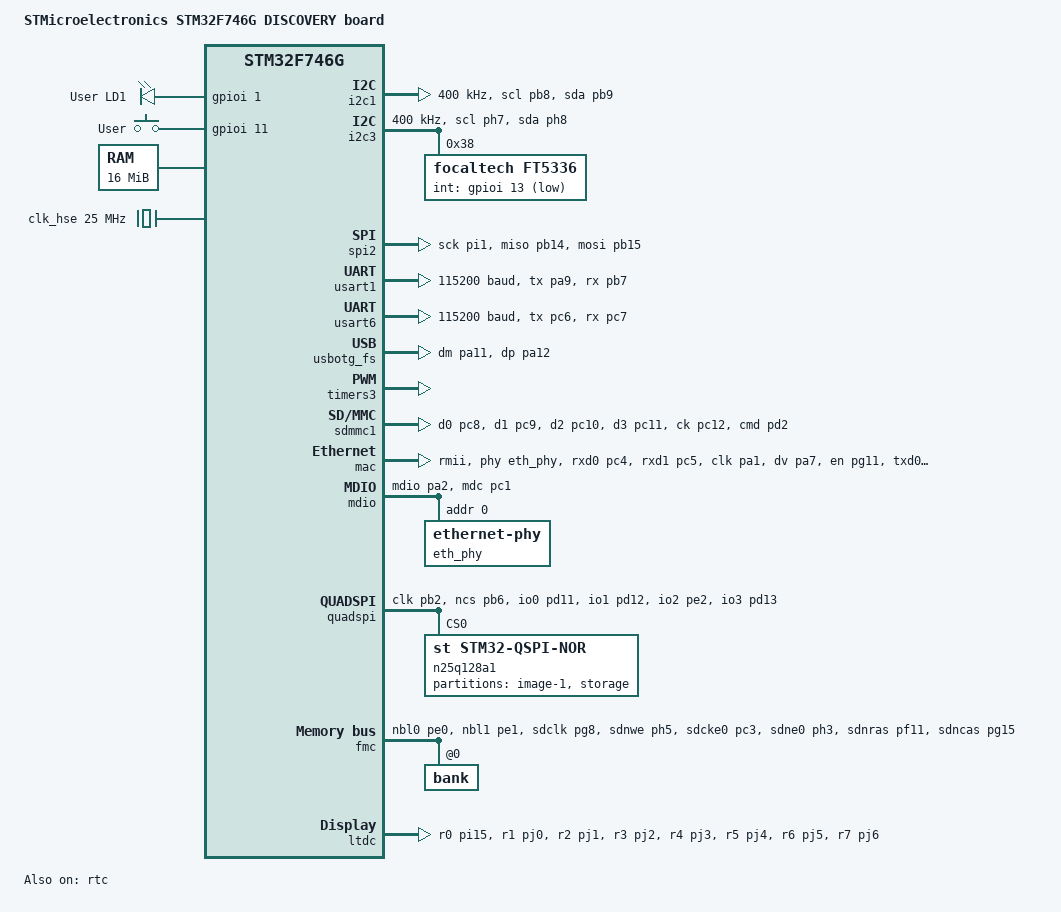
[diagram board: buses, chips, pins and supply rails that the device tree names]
/*
 * Copyright (c) 2018 Yurii Hamann
 *
 * SPDX-License-Identifier: Apache-2.0
 */

/dts-v1/;
#include <st/f7/stm32f746Xg.dtsi>
#include <st/f7/stm32f746nghx-pinctrl.dtsi>
#include "arduino_r3_connector.dtsi"
#include <zephyr/dt-bindings/input/input-event-codes.h>
#include <zephyr/dt-bindings/memory-attr/memory-attr.h>
#include <zephyr/dt-bindings/memory-attr/memory-attr-arm.h>

/ {
	model = "STMicroelectronics STM32F746G DISCOVERY board";
	compatible = "st,stm32f746g-disco";

	chosen {
		zephyr,console = &usart1;
		zephyr,shell-uart = &usart1;
		zephyr,sram = &sram0;
		zephyr,flash = &flash0;
		zephyr,dtcm = &dtcm;
		zephyr,flash-controller = &n25q128a1;
		zephyr,display = &ltdc;
		zephyr,touch = &ft5336;
	};

	leds {
		compatible = "gpio-leds";

		green_led_1: led_1 {
			gpios = <&gpioi 1 GPIO_ACTIVE_HIGH>;
			label = "User LD1";
		};
	};

	gpio_keys {
		compatible = "gpio-keys";

		user_button: button {
			label = "User";
			gpios = <&gpioi 11 GPIO_ACTIVE_HIGH>;
			zephyr,code = <INPUT_KEY_0>;
		};
	};

	lvgl_pointer {
		compatible = "zephyr,lvgl-pointer-input";
		input = <&ft5336>;
	};

	sdram1: sdram@c0000000 {
		compatible = "zephyr,memory-region", "mmio-sram";
		device_type = "memory";
		reg = <0xc0000000 DT_SIZE_M(16)>;
		zephyr,memory-region = "SDRAM1";
		zephyr,memory-attr = <( DT_MEM_ARM(ATTR_MPU_RAM) )>;
	};

	/* Declare attributes for the External flash Mem to allow code execution there */
	ext_memory: memory@90000000 {
		compatible = "zephyr,memory-region";
		reg = <0x90000000 DT_SIZE_M(16)>; /* max addressable area */
		zephyr,memory-region = "EXTMEM";
		/* Override ATTR_MPU_EXTMEM with ATTR_MPU_IO to allow access */
		zephyr,memory-attr = <( DT_MEM_ARM(ATTR_MPU_IO) )>;
	};

	aliases {
		led0 = &green_led_1;
		sw0 = &user_button;
	};
};

&clk_lsi {
	status = "okay";
};

&clk_hse {
	clock-frequency = <DT_FREQ_M(25)>;
	status = "okay";
};

&pll {
	div-m = <25>;
	mul-n = <432>;
	div-p = <2>;
	div-q = <9>;
	clocks = <&clk_hse>;
	status = "okay";
};

&rcc {
	clocks = <&pll>;
	clock-frequency = <DT_FREQ_M(216)>;
	ahb-prescaler = <1>;
	apb1-prescaler = <4>;
	apb2-prescaler = <2>;
};

&i2c1 {
	pinctrl-0 = <&i2c1_scl_pb8 &i2c1_sda_pb9>;
	pinctrl-names = "default";
	status = "okay";
	clock-frequency = <I2C_BITRATE_FAST>;
};

&i2c3 {
	pinctrl-0 = <&i2c3_scl_ph7 &i2c3_sda_ph8>;
	pinctrl-names = "default";
	status = "okay";
	clock-frequency = <I2C_BITRATE_FAST>;

	ft5336: ft5336@38 {
		compatible = "focaltech,ft5336";
		reg = <0x38>;
		int-gpios = <&gpioi 13 GPIO_ACTIVE_LOW>;
	};
};

&spi2 {
	pinctrl-0 = <&spi2_sck_pi1 &spi2_miso_pb14 &spi2_mosi_pb15>;
	pinctrl-names = "default";
	cs-gpios = <&gpioa 8 (GPIO_ACTIVE_LOW | GPIO_PULL_UP)>;
	status = "okay";
};

&usart1 {
	pinctrl-0 = <&usart1_tx_pa9 &usart1_rx_pb7>;
	pinctrl-names = "default";
	current-speed = <115200>;
	status = "okay";
};

&usart6 {
	pinctrl-0 = <&usart6_tx_pc6 &usart6_rx_pc7>;
	pinctrl-names = "default";
	current-speed = <115200>;
	status = "okay";
};

zephyr_udc0: &usbotg_fs {
	pinctrl-0 = <&usb_otg_fs_dm_pa11 &usb_otg_fs_dp_pa12>;
	pinctrl-names = "default";
	status = "okay";
};

&timers3 {
	st,prescaler = <10000>;
	status = "okay";

	pwm3: pwm {
		status = "okay";
		pinctrl-0 = <&tim3_ch1_pb4>;
		pinctrl-names = "default";
	};
};

&rtc {
	clocks = <&rcc STM32_CLOCK(APB1, 28)>,
		 <&rcc STM32_SRC_LSI RTC_SEL(2)>;
	status = "okay";

	backup_regs {
		status = "okay";
	};
};

&sdmmc1 {
	status = "okay";
	pinctrl-0 = <&sdmmc1_d0_pc8 &sdmmc1_d1_pc9
		     &sdmmc1_d2_pc10 &sdmmc1_d3_pc11
		     &sdmmc1_ck_pc12 &sdmmc1_cmd_pd2>;
	pinctrl-names = "default";
	cd-gpios = <&gpioc 13 GPIO_ACTIVE_LOW>;
	disk-name = "SD";
};

&mac {
	status = "okay";
	pinctrl-0 = <&eth_rxd0_pc4
		     &eth_rxd1_pc5
		     &eth_ref_clk_pa1
		     &eth_crs_dv_pa7
		     &eth_tx_en_pg11
		     &eth_txd0_pg13
		     &eth_txd1_pg14>;
	pinctrl-names = "default";
	phy-connection-type = "rmii";
	phy-handle = <&eth_phy>;
};

&mdio {
	status = "okay";
	pinctrl-0 = <&eth_mdio_pa2 &eth_mdc_pc1>;
	pinctrl-names = "default";

	eth_phy: ethernet-phy@0 {
		compatible = "ethernet-phy";
		reg = <0x00>;
	};
};

&quadspi {
	pinctrl-0 = <&quadspi_clk_pb2 &quadspi_bk1_ncs_pb6
		     &quadspi_bk1_io0_pd11 &quadspi_bk1_io1_pd12
		     &quadspi_bk1_io2_pe2 &quadspi_bk1_io3_pd13>;
	pinctrl-names = "default";
	status = "okay";

	n25q128a1: qspi-nor-flash@0 {
		compatible = "st,stm32-qspi-nor";
		reg = <0>;
		size = <DT_SIZE_M(128)>; /* 128 Mbits */
		qspi-max-frequency = <72000000>;
		cs-high-time = <4>; /* >= 50 ns */
		status = "okay";

		partitions {
			compatible = "fixed-partitions";
			#address-cells = <1>;
			#size-cells = <1>;

			slot1_partition: partition@0 {
				label = "image-1";
				reg = <0x00000000 DT_SIZE_K(640)>;
			};

			storage_partition: partition@a0000 {
				label = "storage";
				reg = <0x000a0000 DT_SIZE_M(15)>;
			};
		};
	};
};

&fmc {
	pinctrl-0 = <&fmc_nbl0_pe0 &fmc_nbl1_pe1
		     &fmc_sdclk_pg8 &fmc_sdnwe_ph5 &fmc_sdcke0_pc3
		     &fmc_sdne0_ph3 &fmc_sdnras_pf11 &fmc_sdncas_pg15
		     &fmc_a0_pf0 &fmc_a1_pf1 &fmc_a2_pf2 &fmc_a3_pf3 &fmc_a4_pf4
		     &fmc_a5_pf5 &fmc_a6_pf12 &fmc_a7_pf13 &fmc_a8_pf14
		     &fmc_a9_pf15 &fmc_a10_pg0 &fmc_a11_pg1
		     &fmc_a14_pg4 &fmc_a15_pg5 &fmc_d0_pd14 &fmc_d1_pd15
		     &fmc_d2_pd0 &fmc_d3_pd1 &fmc_d4_pe7 &fmc_d5_pe8 &fmc_d6_pe9
		     &fmc_d7_pe10 &fmc_d8_pe11 &fmc_d9_pe12 &fmc_d10_pe13
		     &fmc_d11_pe14 &fmc_d12_pe15 &fmc_d13_pd8 &fmc_d14_pd9
		     &fmc_d15_pd10>;
	pinctrl-names = "default";
	status = "okay";

	sdram {
		status = "okay";
		power-up-delay = <100>;
		num-auto-refresh = <8>;
		mode-register = <0x220>;
		/*
		 * Auto refresh command shall be issued every 15.625 us
		 * and is calculated as ((15.625 * SDRAM_CLK_MHZ) - 20)
		 * Note: SDRAM_CLK_MHZ = HCLK_MHZ / 2 (108 MHz)
		 */
		refresh-rate = <1667>;

		bank@0 {
			reg = <0>;
			st,sdram-control = <STM32_FMC_SDRAM_NC_8
						STM32_FMC_SDRAM_NR_12
						STM32_FMC_SDRAM_MWID_16
						STM32_FMC_SDRAM_NB_4
						STM32_FMC_SDRAM_CAS_2
						STM32_FMC_SDRAM_SDCLK_PERIOD_2
						STM32_FMC_SDRAM_RBURST_ENABLE
						STM32_FMC_SDRAM_RPIPE_0>;
			st,sdram-timing = <2 6 4 6 2 2 2>;
		};
	};
};

&ltdc {
	pinctrl-0 = <&ltdc_r0_pi15 &ltdc_r1_pj0 &ltdc_r2_pj1 &ltdc_r3_pj2
		     &ltdc_r4_pj3 &ltdc_r5_pj4 &ltdc_r6_pj5 &ltdc_r7_pj6
		     &ltdc_g0_pj7 &ltdc_g1_pj8 &ltdc_g2_pj9 &ltdc_g3_pj10
		     &ltdc_g4_pj11 &ltdc_g5_pk0 &ltdc_g6_pk1 &ltdc_g7_pk2
		     &ltdc_b0_pe4 &ltdc_b1_pj13 &ltdc_b2_pj14 &ltdc_b3_pj15
		     &ltdc_b4_pg12 &ltdc_b5_pk4 &ltdc_b6_pk5 &ltdc_b7_pk6
		     &ltdc_de_pk7 &ltdc_clk_pi14 &ltdc_hsync_pi10 &ltdc_vsync_pi9>;
	pinctrl-names = "default";
	disp-on-gpios = <&gpioi 12 GPIO_ACTIVE_HIGH>;
	bl-ctrl-gpios = <&gpiok 3 GPIO_ACTIVE_HIGH>;
	ext-sdram = <&sdram1>;
	status = "okay";

	width = <480>;
	height = <272>;
	pixel-format = <PANEL_PIXEL_FORMAT_RGB_565>;

	display-timings {
		compatible = "zephyr,panel-timing";
		de-active = <0>;
		pixelclk-active = <0>;
		hsync-active = <0>;
		vsync-active = <0>;
		hsync-len = <1>;
		vsync-len = <10>;
		hback-porch = <43>;
		vback-porch = <12>;
		hfront-porch = <8>;
		vfront-porch = <4>;
	};

	def-back-color-red = <0xFF>;
	def-back-color-green = <0xFF>;
	def-back-color-blue = <0xFF>;
};
